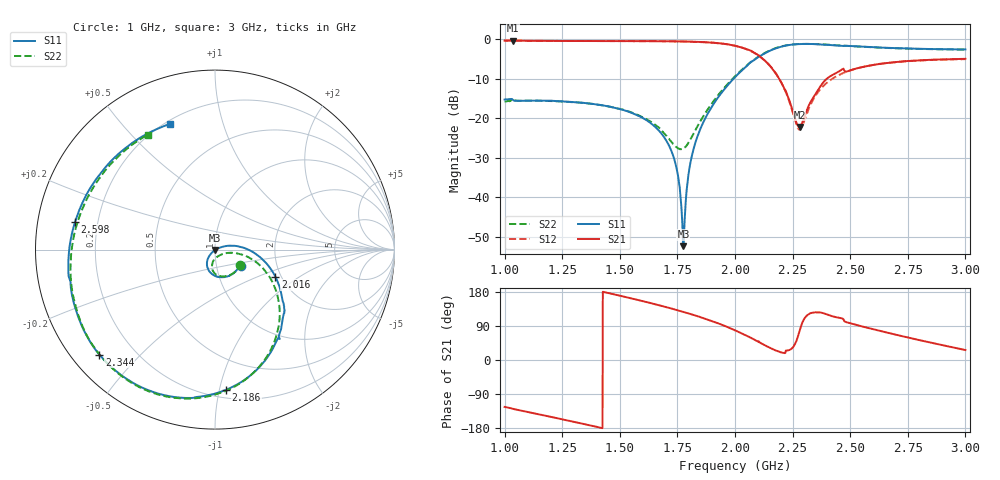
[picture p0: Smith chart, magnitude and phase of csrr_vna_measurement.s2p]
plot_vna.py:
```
"""Plot the measured S11 and S21 of the CSRR board from the VNA .s2p file.

Reads ../data/csrr_vna_measurement.s2p (R&S ZNB20, 1-3 GHz, 1601 points,
magnitude/angle format), prints the S21 notch and S11 null, and writes
../img/vna_measured_vs_hfss.png. The two HFSS markers are the values read
from my HFSS sweep (S11 null and S21 notch), not a full simulated curve.

Usage: python scripts/plot_vna.py
"""
from pathlib import Path

import matplotlib
matplotlib.use("Agg")
import matplotlib.pyplot as plt
import numpy as np

ROOT = Path(__file__).resolve().parent.parent
rows = [l.split() for l in open(ROOT / "data" / "csrr_vna_measurement.s2p")
        if l.strip() and l[0] not in "!#"]
a = np.array(rows, float)
f = a[:, 0] / 1e9
db = lambda mag: 20 * np.log10(mag)
s11, s21, s12 = db(a[:, 1]), db(a[:, 3]), db(a[:, 5])

i21 = np.argmin(s21)
i11 = np.argmin(s11)
print(f"S21 notch: {f[i21]:.3f} GHz, {s21[i21]:.1f} dB (S11 there: {s11[i21]:.1f} dB)")
print(f"S11 null:  {f[i11]:.3f} GHz, {s11[i11]:.1f} dB (S21 there: {s21[i11]:.2f} dB)")

HFSS_NOTCH = (2.272, -24.5)   # S21 notch, HFSS
HFSS_NULL = (1.746, -37.2)    # S11 null, HFSS

fig, ax = plt.subplots(figsize=(8, 4.5))
ax.plot(f, s21, color="#1f4e79", lw=1.6, label="S21 measured")
ax.plot(f, s11, color="#d97706", lw=1.6, label="S11 measured")
ax.plot(*HFSS_NOTCH, "o", mfc="none", mec="#1f4e79", ms=9, mew=2, label="S21 notch, HFSS")
ax.plot(*HFSS_NULL, "o", mfc="none", mec="#d97706", ms=9, mew=2, label="S11 null, HFSS")
ax.annotate(f"{f[i21]:.3f} GHz\n{s21[i21]:.1f} dB", (f[i21], s21[i21]),
            (f[i21] + 0.12, s21[i21] + 3), fontsize=9)
ax.set(xlabel="Frequency (GHz)", ylabel="Magnitude (dB)", xlim=(1, 3), ylim=(-60, 3),
       title="CSRR band-stop filter: VNA measurement vs HFSS markers")
ax.grid(alpha=0.3)
ax.spines[["top", "right"]].set_visible(False)
ax.legend(frameon=False, loc="lower right", fontsize=9)
fig.tight_layout()
fig.savefig(ROOT / "img" / "vna_measured_vs_hfss.png", dpi=150)
```
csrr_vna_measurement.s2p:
#  HZ  S  MA  R  50.00
! Rohde & Schwarz Vector Network Analyzer
! Rohde-Schwarz,ZNB20-2Port,1311601062102213,3.30
! Created: UTC 2/27/2026, 9:30:31 AM
! freq[Hz]  mag:S11  ang:S11  mag:S21  ang:S21  mag:S12  ang:S12  mag:S22  ang:S22
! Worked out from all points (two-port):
!   1601 points, 1 GHz to 3 GHz, reference 50 ohm
!   highest |S21| = -0.31 dB at 1.035 GHz (marker M1); lowest = -22.2 dB at 2.28 GHz (marker M2)
!   |S21| within 3 dB of the highest: start of sweep to 2.08 GHz
!   lowest |S11| = -52.4 dB at 1.776 GHz (marker M3), VSWR 1.00, Z = 50.1 - j0.194 ohm
!   |S11| at or under -10 dB: start of sweep to 1.994 GHz
!   |S22| runs from -27.8 to -1.1 dB; largest |S21 - S12| = 0.071
!   S11 on the Smith chart (normalised r, x): 1 GHz: 1.32, -0.24; 2.016 GHz: 1.86, -0.66; 2.186 GHz: 0.26, -1.05; 2.344 GHz: 0.08, -0.38; 2.598 GHz: 0.12, +0.10; 3 GHz: 0.22, +0.68
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1e9  0.1727 -31.2  0.9617 -123.8  0.9613 -124.5  0.1625 -32.3
1.035e9  0.1727 -38.8  0.9649 -128.6  0.9667 -128.4  0.1659 -32.7
1.6275e9  0.08963 -120.3  0.9467 151.1  0.9473 151.2  0.09297 -100.3
1.77625e9  0.002402 -53.8  0.9384 126.9  0.9383 126.9  0.04152 -49.6
2e9  0.3312 -19.4  0.8292 78.4  0.83 78.5  0.3402 -26.6
2.01625e9  0.3695 -24.3  0.8073 73.8  0.8075 73.9  0.3785 -30.7
2.18625e9  0.7842 -85.6  0.3364 23.0  0.3377 22.8  0.7901 -85.8
2.28e9  0.8702 -118.7  0.07789 76.1  0.07201 68.4  0.8732 -116.9
2.34375e9  0.8702 -137.8  0.1907 125.5  0.1817 117.3  0.8719 -134.5
2.5975e9  0.7947 168.7  0.4724 81.6  0.4722 80.9  0.7917 175.6
3e9  0.7438 109.9  0.5663 26.3  0.5601 25.9  0.7417 120.3
